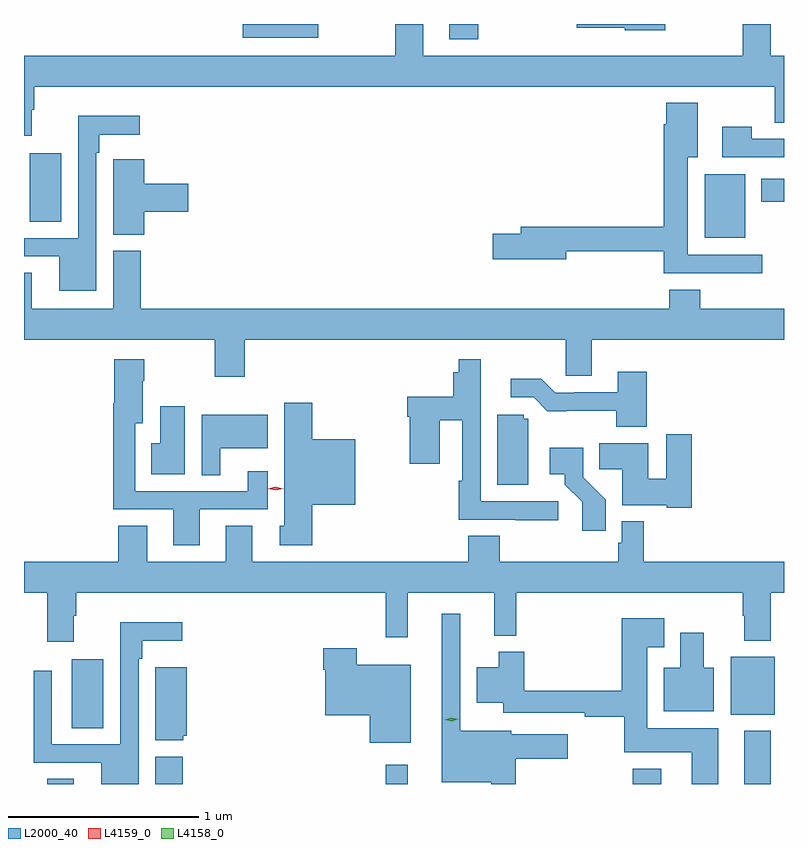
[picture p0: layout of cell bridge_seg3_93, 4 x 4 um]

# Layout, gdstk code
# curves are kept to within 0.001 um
import gdstk
lib = gdstk.Library(unit=1e-6, precision=1e-09)
def R(c, l, rs):  # rectangles x0, y0, x1, y1
    for r in rs: c.add(gdstk.rectangle(r[:2], r[2:], *l))
def P(c, l, *ps):  # polygons
    for p in ps: c.add(gdstk.Polygon(p, *l))
L2000_40 = (2000, 40)
L4158_0 = (4158, 0)
L4159_0 = (4159, 0)

bridge_seg3_93 = lib.new_cell('bridge_seg3_93')
R(bridge_seg3_93, L2000_40, [(411.188,727.882,411.328,727.91), (411.758,727.882,411.902,728.026), (412.969,727.882,413.086,727.984), (414.269,727.882,414.421,727.963), (414.857,727.882,414.997,728.161), (411.317,728.176,411.484,728.539), (414.785,728.246,415.018,728.551), (414.65,730.757,414.862,731.092), (411.095,730.84,411.262,731.203), (414.947,730.946,415.066,731.068), (413.303,731.802,413.456,731.882), (412.218,731.81,412.615,731.882)])
P(bridge_seg3_93, L2000_40, [(414.442,731.882),(413.976,731.882),(413.976,731.861),(414.228,731.861),(414.228,731.849),(414.442,731.849)],
  [(411.106,731.432),(411.119,731.432),(411.119,731.552),(415.018,731.552),(415.018,731.362),(415.066,731.362),(415.066,731.716),(414.997,731.716),(414.997,731.882),(414.85,731.882),(414.85,731.716),(413.167,731.716),(413.167,731.882),(413.02,731.882),(413.02,731.716),(411.066,731.716),(411.066,731.295),(411.106,731.295)],
  [(414.952,730.668),(414.559,730.668),(414.559,731.18),(414.613,731.18),(414.613,731.467),(414.446,731.467),(414.446,731.354),(414.434,731.354),(414.434,730.814),(413.681,730.814),(413.681,730.778),(413.532,730.778),(413.532,730.643),(413.92,730.643),(413.92,730.686),(414.434,730.686),(414.434,730.571),(414.952,730.571)],
  [(411.447,731.204),(411.463,731.204),(411.463,731.3),(411.676,731.3),(411.676,731.398),(411.351,731.398),(411.351,730.755),(411.066,730.755),(411.066,730.659),(411.251,730.659),(411.251,730.478),(411.447,730.478)],
  [(415.066,731.277),(414.897,731.277),(414.897,731.341),(414.741,731.341),(414.741,731.181),(415.066,731.181)],
  [(411.698,730.895),(411.931,730.895),(411.931,731.042),(411.698,731.042),(411.698,731.17),(411.537,731.17),(411.537,731.057),(411.536,731.057),(411.536,730.774),(411.698,730.774)],
  [(412.229,730.22),(413.916,730.22),(413.916,730.03),(414.055,730.03),(414.055,730.22),(415.066,730.22),(415.066,730.384),(414.626,730.384),(414.626,730.483),(414.461,730.483),(414.461,730.384),(411.68,730.384),(411.68,730.689),(411.536,730.689),(411.536,730.384),(411.106,730.384),(411.106,730.574),(411.066,730.574),(411.066,730.22),(412.069,730.22),(412.069,730.026),(412.229,730.026)],
  [(413.878,729.369),(413.469,729.369),(413.469,730.117),(413.353,730.117),(413.353,730.048),(413.324,730.048),(413.324,729.919),(413.084,729.919),(413.084,729.815),(413.096,729.815),(413.096,729.567),(413.254,729.567),(413.254,729.797),(413.373,729.797),(413.373,729.479),(413.353,729.479),(413.353,729.273),(413.653,729.273),(413.653,729.271),(413.878,729.271)],
  [(411.991,729.327),(412.348,729.327),(412.348,729.529),(412.244,729.529),(412.244,729.423),(411.651,729.423),(411.651,729.782),(411.691,729.782),(411.691,730.004),(411.699,730.004),(411.699,730.117),(411.542,730.117),(411.542,729.886),(411.535,729.886),(411.535,729.327),(411.851,729.327),(411.851,729.138),(411.991,729.138)],
  [(414.344,730.051),(414.191,730.051),(414.191,729.945),(413.962,729.945),(413.962,729.942),(413.862,729.942),(413.789,730.015),(413.628,730.015),(413.628,729.918),(413.748,729.918),(413.821,729.845),(414.184,729.846),(414.184,729.761),(414.344,729.761)],
  [(412.583,729.353),(412.81,729.353),(412.81,729.697),(412.583,729.697),(412.583,729.889),(412.436,729.889),(412.436,729.24),(412.412,729.24),(412.412,729.138),(412.583,729.138)],
  [(411.913,729.871),(411.782,729.871),(411.782,729.676),(411.736,729.676),(411.736,729.512),(411.913,729.512)],
  [(412.099,729.65),(412.348,729.65),(412.348,729.826),(412.002,729.826),(412.002,729.508),(412.099,729.508)],
  [(413.719,729.804),(413.697,729.804),(413.697,729.825),(413.558,729.825),(413.558,729.456),(413.719,729.456)],
  [(414.581,729.724),(414.446,729.724),(414.446,729.488),(414.352,729.488),(414.352,729.676),(414.094,729.676),(414.094,729.538),(414.215,729.538),(414.215,729.35),(414.45,729.35),(414.45,729.335),(414.581,729.335)],
  [(414.128,729.378),(414.009,729.497),(414.009,729.652),(413.832,729.652),(413.832,729.512),(413.912,729.512),(413.912,729.457),(414.003,729.367),(414.003,729.216),(414.128,729.216)],
  [(411.328,728.768),(411.341,728.768),(411.341,728.888),(412.969,728.888),(412.969,728.655),(413.087,728.655),(413.087,728.888),(413.54,728.888),(413.54,728.663),(413.657,728.663),(413.657,728.888),(414.85,728.888),(414.85,728.768),(414.857,728.768),(414.857,728.636),(414.997,728.636),(414.997,728.888),(415.066,728.888),(415.066,729.052),(414.329,729.052),(414.329,729.265),(414.213,729.265),(414.213,729.153),(414.193,729.153),(414.193,729.052),(413.57,729.052),(413.57,729.188),(413.405,729.188),(413.405,729.052),(412.267,729.052),(412.267,729.242),(412.127,729.242),(412.127,729.052),(411.715,729.052),(411.715,729.242),(411.563,729.242),(411.563,729.052),(411.066,729.052),(411.066,728.888),(411.188,728.888),(411.188,728.631),(411.328,728.631)],
  [(413.654,728.014),(413.929,728.014),(413.929,728.143),(413.631,728.143),(413.631,728.161),(413.361,728.161),(413.361,728.779),(413.264,728.779),(413.264,727.892),(413.526,727.892),(413.526,727.882),(413.654,727.882)],
  [(414.721,728.176),(414.346,728.176),(414.346,728.603),(414.436,728.603),(414.436,728.755),(414.212,728.755),(414.212,728.372),(413.699,728.372),(413.699,728.578),(413.564,728.578),(413.564,728.497),(413.45,728.497),(413.45,728.309),(413.589,728.309),(413.589,728.256),(414.016,728.256),(414.016,728.236),(414.224,728.236),(414.224,728.048),(414.581,728.048),(414.581,727.882),(414.721,727.882)],
  [(411.669,728.54),(411.689,728.54),(411.689,728.636),(411.898,728.636),(411.898,728.734),(411.573,728.734),(411.573,728.091),(411.213,728.091),(411.213,728.479),(411.117,728.479),(411.117,727.995),(411.473,727.995),(411.473,727.882),(411.669,727.882)],
  [(414.697,728.494),(414.643,728.494),(414.643,728.677),(414.521,728.677),(414.521,728.494),(414.434,728.494),(414.434,728.264),(414.697,728.264)],
  [(413.101,728.509),(412.818,728.509),(412.818,728.596),(412.64,728.596),(412.64,728.483),(412.652,728.483),(412.652,728.243),(412.886,728.243),(412.886,728.099),(413.101,728.099)],
  [(411.903,728.136),(411.922,728.136),(411.922,728.497),(411.758,728.497),(411.758,728.111),(411.903,728.111)])
P(bridge_seg3_93, L4158_0, [(413.316,728.212),(413.28,728.219),(413.28,728.22),(413.28,728.22),(413.315,728.232),(413.35,728.224),(413.351,728.224),(413.35,728.224)])
P(bridge_seg3_93, L4159_0, [(412.39,729.427),(412.349,729.436),(412.349,729.436),(412.349,729.436),(412.389,729.447),(412.43,729.437),(412.43,729.437),(412.43,729.437)])

lib.write_gds('bridge_seg3_93.gds')
